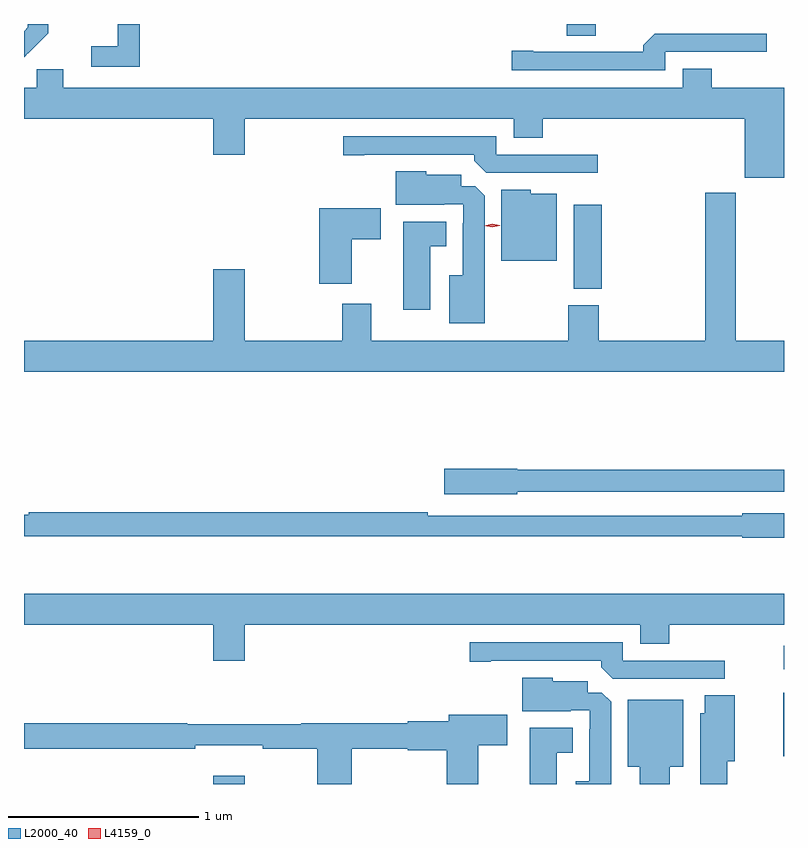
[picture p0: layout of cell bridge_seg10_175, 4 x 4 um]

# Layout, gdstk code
import gdstk
lib = gdstk.Library(unit=1e-6, precision=1e-09)
def R(c, l, rs):  # rectangles x0, y0, x1, y1
    for r in rs: c.add(gdstk.rectangle(r[:2], r[2:], *l))
def P(c, l, *ps):  # polygons
    for p in ps: c.add(gdstk.Polygon(p, *l))
L2000_40 = (2000, 40)
L4159_0 = (4159, 0)

bridge_seg10_175 = lib.new_cell('bridge_seg10_175')
R(bridge_seg10_175, L2000_40, [(188.984,1274.171,189.148,1274.215), (191.984,1274.316,191.987,1274.652), (191.985,1274.774,191.987,1274.898), (190.88,1276.777,191.027,1277.221), (190.844,1278.109,190.996,1278.171)])
P(bridge_seg10_175, L2000_40, [(188.597,1278.171),(188.48,1278.171),(188.48,1278.055),(188.34,1278.055),(188.34,1277.946),(188.597,1277.946)],
  [(188.009,1278.019),(188.01,1278.018),(188.115,1278.123),(188.115,1278.171),(188.007,1278.171),(188.007,1278.153),(187.987,1278.133),(187.987,1277.997)],
  [(191.361,1278.024),(191.896,1278.024),(191.896,1278.12),(191.307,1278.12),(191.246,1278.058),(191.246,1278.024),(190.666,1278.024),(190.666,1278.029),(190.554,1278.029),(190.554,1277.928),(191.361,1277.928)],
  [(191.987,1277.836),(191.606,1277.836),(191.606,1277.935),(191.453,1277.935),(191.453,1277.836),(188.194,1277.836),(188.194,1277.934),(188.055,1277.934),(188.055,1277.836),(187.987,1277.836),(187.987,1277.672),(188.984,1277.672),(188.984,1277.484),(189.148,1277.484),(189.148,1277.672),(190.565,1277.672),(190.565,1277.573),(190.718,1277.573),(190.718,1277.672),(191.78,1277.672),(191.78,1277.363),(191.987,1277.363)],
  [(191.008,1277.484),(190.473,1277.484),(190.473,1277.58),(189.666,1277.58),(189.666,1277.479),(189.778,1277.479),(189.778,1277.484),(190.358,1277.484),(190.358,1277.45),(190.419,1277.388),(191.008,1277.388)],
  [(190.411,1277.267),(190.362,1277.316),(190.288,1277.316),(190.288,1277.377),(190.104,1277.377),(190.104,1277.395),(189.944,1277.395),(189.944,1277.219),(190.199,1277.219),(190.199,1277.223),(190.299,1277.223),(190.299,1277.123),(190.295,1277.123),(190.295,1276.849),(190.226,1276.849),(190.226,1276.595),(190.411,1276.595)],
  [(190.792,1277.278),(190.653,1277.278),(190.653,1277.299),(190.499,1277.299),(190.499,1276.925),(190.792,1276.925)],
  [(191.987,1276.504),(191.733,1276.504),(191.733,1277.284),(191.573,1277.284),(191.573,1276.504),(191.012,1276.504),(191.012,1276.692),(190.852,1276.692),(190.852,1276.504),(189.814,1276.504),(189.814,1276.699),(189.662,1276.699),(189.662,1276.504),(189.148,1276.504),(189.148,1276.879),(188.984,1276.879),(188.984,1276.504),(187.987,1276.504),(187.987,1276.34),(191.987,1276.34)],
  [(189.712,1277.038),(189.865,1277.038),(189.865,1277.2),(189.542,1277.2),(189.542,1276.805),(189.712,1276.805)],
  [(190.126,1277),(190.21,1277),(190.21,1277.131),(189.983,1277.131),(189.983,1276.668),(190.126,1276.668)],
  [(190.584,1275.708),(191.987,1275.708),(191.987,1275.824),(190.584,1275.824),(190.584,1275.83),(190.2,1275.83),(190.2,1275.695),(190.584,1275.695)],
  [(191.987,1275.595),(191.766,1275.595),(191.766,1275.582),(190.112,1275.582),(190.112,1275.602),(188.012,1275.602),(188.012,1275.587),(187.987,1275.587),(187.987,1275.474),(191.766,1275.474),(191.766,1275.466),(191.987,1275.466)],
  [(189.148,1275.008),(191.231,1275.008),(191.231,1274.909),(191.384,1274.909),(191.384,1275.008),(191.987,1275.008),(191.987,1275.172),(187.987,1275.172),(187.987,1275.008),(188.984,1275.008),(188.984,1274.82),(189.148,1274.82)],
  [(191.674,1274.82),(191.139,1274.82),(191.139,1274.916),(190.332,1274.916),(190.332,1274.815),(190.444,1274.815),(190.444,1274.82),(191.024,1274.82),(191.024,1274.786),(191.085,1274.724),(191.674,1274.724)],
  [(191.077,1274.603),(191.028,1274.652),(190.954,1274.652),(190.954,1274.713),(190.77,1274.713),(190.77,1274.731),(190.61,1274.731),(190.61,1274.555),(190.865,1274.555),(190.865,1274.559),(190.965,1274.559),(190.965,1274.459),(190.961,1274.459),(190.961,1274.185),(190.892,1274.185),(190.892,1274.171),(191.077,1274.171)],
  [(191.688,1274.291),(191.728,1274.291),(191.728,1274.639),(191.57,1274.639),(191.57,1274.544),(191.546,1274.544),(191.546,1274.171),(191.688,1274.171)],
  [(191.386,1274.261),(191.458,1274.261),(191.458,1274.614),(191.165,1274.614),(191.165,1274.261),(191.228,1274.261),(191.228,1274.171),(191.386,1274.171)],
  [(189.713,1274.356),(190.008,1274.356),(190.008,1274.348),(190.211,1274.348),(190.211,1274.171),(190.378,1274.171),(190.378,1274.374),(190.531,1274.374),(190.531,1274.536),(190.223,1274.536),(190.223,1274.5),(190.008,1274.5),(190.008,1274.492),(189.446,1274.492),(189.446,1274.485),(188.846,1274.485),(188.846,1274.492),(187.987,1274.492),(187.987,1274.356),(188.888,1274.356),(188.888,1274.375),(189.244,1274.375),(189.244,1274.356),(189.53,1274.356),(189.53,1274.171),(189.713,1274.171)],
  [(190.792,1274.336),(190.876,1274.336),(190.876,1274.467),(190.649,1274.467),(190.649,1274.171),(190.792,1274.171)])
P(bridge_seg10_175, L4159_0, [(190.451,1277.1),(190.41,1277.109),(190.41,1277.109),(190.41,1277.11),(190.451,1277.12),(190.492,1277.111),(190.492,1277.111),(190.492,1277.11)])

lib.write_gds('bridge_seg10_175.gds')
